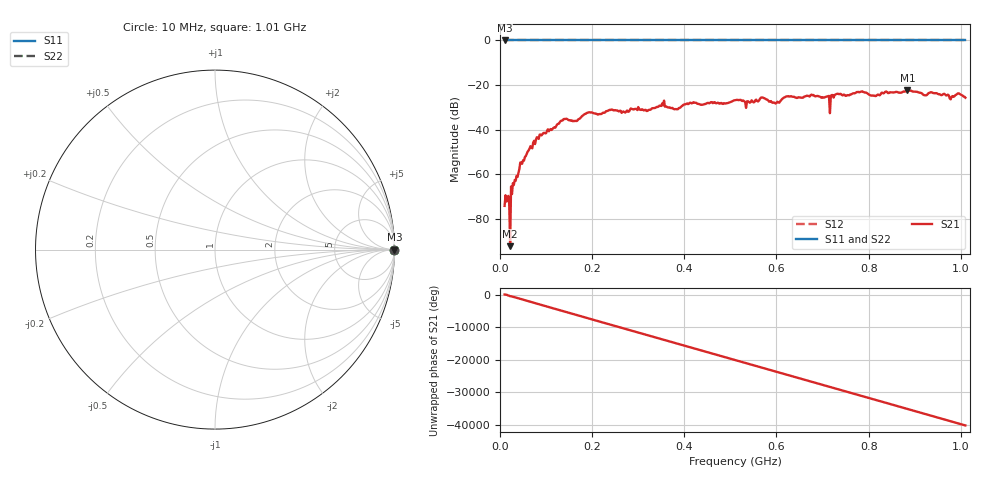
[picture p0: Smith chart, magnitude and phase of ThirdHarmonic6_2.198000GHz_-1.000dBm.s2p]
! 8/17/2025 2:12:10 AM
! C:\ANRITSUVNA\TEMP\TEMP.S2P
! CHANNEL.1
! TR.MEASUREMENT
! RAW.DATA
! RF.CORRECTION.OFF
! AVERAGING.OFF
! IF.BANDWIDTH: 5KHZ
! SWEEPTYPE:  FREQ.SWEEP(Linear)
! Reference Plane Port Info
! PORT:  PORT1  PORT2
! DISTANCE:  0  m  0  m
! TIME:  0  s  0  s
! PHASE.OFFSET:  0  deg.  0  deg.
! LOSS:  0  dB  0  dB
! REF.LOSS:  0  dB  0  dB
! REF.FREQ:  0  Hz  0  Hz
! Power Info
! POWER:  -20  dBm  -20  dBm
! EFF.POWER:  -20  dBm  -20  dBm
! SOURCE.ATTEN:  0  dB  0  dB
! TEST.ATTEN:  0  dB  0  dB
# GHZ S RI R 50.0
! FREQ.GHZ  S11RE  S11IM  S21RE  S21IM  S12RE  S12IM  S22RE  S22IM
!; PortSelection: Port_12
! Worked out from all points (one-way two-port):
!   501 points, 10 MHz to 1.01 GHz, reference 50 ohm
!   highest |S21| = -22.26 dB at 884 MHz (marker M1); lowest = -92.2 dB at 22 MHz (marker M2)
!   lowest |S11| = 0.0 dB at 10 MHz (marker M3)
!   |S11| at or under -10 dB: nowhere
!   |S22| runs from 0.0 to 0.0 dB; largest |S21 - S12| = 1.1
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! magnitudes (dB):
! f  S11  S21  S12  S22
! 10 MHz  0.0  -74.2  0.0  0.0
! 22 MHz  0.0  -92.2  0.0  0.0
! 28 MHz  0.0  -64.0  0.0  0.0
! 46 MHz  0.0  -54.8  0.0  0.0
! 82 MHz  0.0  -43.6  0.0  0.0
! 136 MHz  0.0  -35.9  0.0  0.0
! 164 MHz  0.0  -36.0  0.0  0.0
! 178 MHz  0.0  -33.9  0.0  0.0
! 344 MHz  0.0  -29.6  0.0  0.0
! 382 MHz  0.0  -30.8  0.0  0.0
! 416 MHz  0.0  -28.2  0.0  0.0
! 510 MHz  0.0  -26.8  0.0  0.0
! 538 MHz  0.0  -27.2  0.0  0.0
! 570 MHz  0.0  -25.6  0.0  0.0
! 596 MHz  0.0  -27.9  0.0  0.0
! 622 MHz  0.0  -25.1  0.0  0.0
! 678 MHz  0.0  -24.6  0.0  0.0
! 712 MHz  0.0  -25.0  0.0  0.0
! 734 MHz  0.0  -23.9  0.0  0.0
! 844 MHz  0.0  -23.6  0.0  0.0
! 884 MHz  0.0  -22.3  0.0  0.0
! 1.01 GHz  0.0  -25.7  0.0  0.0
